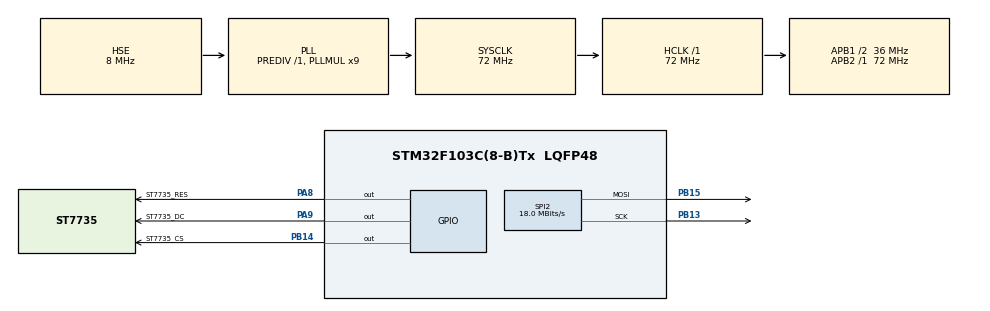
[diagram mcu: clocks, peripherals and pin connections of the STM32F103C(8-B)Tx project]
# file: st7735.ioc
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Mcu.Family=STM32F1
Mcu.Name=STM32F103C(8-B)Tx
Mcu.Package=LQFP48
NVIC.PriorityGroup=NVIC_PRIORITYGROUP_4
PA13.Mode=Serial_Wire
PA13.Signal=SYS_JTMS-SWDIO
PA14.Mode=Serial_Wire
PA14.Signal=SYS_JTCK-SWCLK
PA8.GPIO_Label=ST7735_RES
PA8.GPIO_Speed=GPIO_SPEED_FREQ_HIGH
PA8.Signal=GPIO_Output
PA9.GPIO_Label=ST7735_DC
PA9.GPIO_Speed=GPIO_SPEED_FREQ_HIGH
PA9.Signal=GPIO_Output
PB13.Mode=TX_Only_Simplex_Unidirect_Master
PB13.Signal=SPI2_SCK
PB14.GPIO_Label=ST7735_CS
PB14.GPIO_Speed=GPIO_SPEED_FREQ_HIGH
PB14.Signal=GPIO_Output
PB15.Mode=TX_Only_Simplex_Unidirect_Master
PB15.Signal=SPI2_MOSI
PC14-OSC32_IN.Mode=LSE-External-Oscillator
PC14-OSC32_IN.Signal=RCC_OSC32_IN
PC15-OSC32_OUT.Mode=LSE-External-Oscillator
PC15-OSC32_OUT.Signal=RCC_OSC32_OUT
PD0-OSC_IN.Mode=HSE-External-Oscillator
PD0-OSC_IN.Signal=RCC_OSC_IN
PD1-OSC_OUT.Mode=HSE-External-Oscillator
PD1-OSC_OUT.Signal=RCC_OSC_OUT
ProjectManager.HeapSize=0x200
ProjectManager.StackSize=0x400
ProjectManager.TargetToolchain=Makefile
RCC.AHBFreq_Value=72000000
RCC.APB1CLKDivider=RCC_HCLK_DIV2
RCC.APB1Freq_Value=36000000
RCC.APB1TimFreq_Value=72000000
RCC.APB2Freq_Value=72000000
RCC.APB2TimFreq_Value=72000000
RCC.HCLKFreq_Value=72000000
RCC.PLLMUL=RCC_PLL_MUL9
RCC.PLLSourceVirtual=RCC_PLLSOURCE_HSE
RCC.RTCClockSelection=RCC_RTCCLKSOURCE_LSE
RCC.SYSCLKFreq_VALUE=72000000
RCC.SYSCLKSource=RCC_SYSCLKSOURCE_PLLCLK
RCC.USBFreq_Value=72000000
SPI2.CalculateBaudRate=18.0 MBits/s
SPI2.Direction=SPI_DIRECTION_2LINES
SPI2.Mode=SPI_MODE_MASTER
SPI2.VirtualType=VM_MASTER
VP_RTC_No_RTC_Output.Mode=RTC_OUT_NO
VP_RTC_VS_RTC_Activate.Mode=RTC_Enabled
board=custom

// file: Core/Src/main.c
/* USER CODE BEGIN Header */
/**
  ******************************************************************************
  * @file           : main.c
  * @brief          : Main program body
  ******************************************************************************
  * @attention
  *
  * Copyright (c) 2021 STMicroelectronics.
  * All rights reserved.
  *
  * This software is licensed under terms that can be found in the LICENSE file
  * in the root directory of this software component.
  * If no LICENSE file comes with this software, it is provided AS-IS.
  *
  ******************************************************************************
  */
/* USER CODE END Header */
#include "main.h"

/* USER CODE BEGIN Includes */
#include <string.h>
#include <stdio.h>
#include "st7735.h"
#include "fonts.h"
#include "car.h"
#include "stm32f1xx_hal.h"
#include "splash.h"
/* USER CODE END Includes */

RTC_HandleTypeDef hrtc;

SPI_HandleTypeDef hspi2;

/* USER CODE BEGIN PV */
ucg_t ucg;
/* USER CODE END PV */

void SystemClock_Config(void);
static void MX_GPIO_Init(void);
static void MX_RTC_Init(void);
static void MX_SPI2_Init(void);

/* USER CODE BEGIN 0 */
void init() {
    ucg_Init();

    /* const char ready[] = "Ready!\r\n"; */
    /* HAL_UART_Transmit(&huart1, (uint8_t*)ready, sizeof(ready)-1, HAL_MAX_DELAY); */
}

/* void loop() { */
/*     // Check border */
/*     ucg_FillScreen(ST7735_BLACK); */
/*  */
/*     for(int x = 0; x < ST7735_WIDTH; x++) { */
/*         ucg_DrawPixel(x, 0, ST7735_RED); */
/*         ucg_DrawPixel(x, ST7735_HEIGHT-1, ST7735_RED); */
/*     } */
/*  */
/*     for(int y = 0; y < ST7735_HEIGHT; y++) { */
/*         ucg_DrawPixel(0, y, ST7735_RED); */
/*         ucg_DrawPixel(ST7735_WIDTH-1, y, ST7735_RED); */
/*     } */
/*  */
/*     HAL_Delay(3000); */
/*  */
/*     // Check fonts */
/*     ucg_FillScreen(ST7735_BLACK); */
/*     ucg_WriteString(0, 0, "Font_7x10", Font_7x10, ST7735_RED, ST7735_BLACK); */
/*     ucg_WriteString(0, 18, "Font_11x18", Font_11x18, ST7735_GREEN, ST7735_BLACK); */
/*     ucg_WriteString(0, 22+18, "Font_16x26", Font_16x26, ST7735_BLUE, ST7735_BLACK); */
/*     HAL_Delay(2000); */
/*  */
/*     // Check colors */
/*     ucg_FillScreen(ST7735_BLACK); */
/*     ucg_WriteString(0, 0, "BLACK", Font_11x18, ST7735_WHITE, ST7735_BLACK); */
/*     HAL_Delay(500); */
/*  */
/*     ucg_FillScreen(ST7735_BLUE); */
/*     ucg_WriteString(0, 0, "BLUE", Font_11x18, ST7735_BLACK, ST7735_BLUE); */
/*     HAL_Delay(500); */
/*  */
/*     ucg_FillScreen(ST7735_RED); */
/*     ucg_WriteString(0, 0, "RED", Font_11x18, ST7735_BLACK, ST7735_RED); */
/*     HAL_Delay(500); */
/*  */
/*     ucg_FillScreen(ST7735_GREEN); */
/*     ucg_WriteString(0, 0, "GREEN", Font_11x18, ST7735_BLACK, ST7735_GREEN); */
/*     HAL_Delay(500); */
/*  */
/*     ucg_FillScreen(ST7735_CYAN); */
/*     ucg_WriteString(0, 0, "CYAN", Font_11x18, ST7735_BLACK, ST7735_CYAN); */
/*     HAL_Delay(500); */
/*  */
/*     ucg_FillScreen(ST7735_MAGENTA); */
/*     ucg_WriteString(0, 0, "MAGENTA", Font_11x18, ST7735_BLACK, ST7735_MAGENTA); */
/*     HAL_Delay(500); */
/*  */
/*     ucg_FillScreen(ST7735_YELLOW); */
/*     ucg_WriteString(0, 0, "YELLOW", Font_11x18, ST7735_BLACK, ST7735_YELLOW); */
/*     HAL_Delay(500); */
/*  */
/*     ucg_FillScreen(ST7735_WHITE); */
/*     ucg_WriteString(0, 0, "WHITE", Font_11x18, ST7735_BLACK, ST7735_WHITE); */
/*     HAL_Delay(500); */
/*  */
/* 	ucg_DrawImage(0, 0, ST7735_WIDTH, ST7735_HEIGHT, (uint16_t*)test_img_160x80); */
/* 	HAL_Delay(15000); */
/* } */
/* USER CODE END 0 */

int main(void)
{

	/* MCU Configuration--------------------------------------------------------*/

	/* Reset of all peripherals, Initializes the Flash interface and the Systick. */
	HAL_Init();

	/* Configure the system clock */
	SystemClock_Config();

	/* Initialize all configured peripherals */
	MX_GPIO_Init();
	MX_RTC_Init();
	MX_SPI2_Init();
	/* USER CODE BEGIN 2 */
	init();
	ucg_SetBackColor(&ucg, C_BLACK);
	ucg_FillScreen(&ucg);
	/* ucg_FillRectangle(1, 1, 10, 10, ST7735_YELLOW); */
	ucg_SetForeColor(&ucg, C_CYAN);
	/* ucg_SetColor(&ucg, 1, ST7735_BLACK); */
	/* ucg_DrawRectangle(&ucg, 10, 10, 160, 160); */
	ucg_SetForeColor(&ucg, C_RED);
	ucg_SetFont(&ucg, (tFont*)&font_18b);
	/* ucg_DrawRoundFrame(&ucg, 20, 20, 100, 40, 10); */
	/* ucg_FillRoundFrame(&ucg, 20, 20, 100, 40, 10); */
	/* ucg_SetColor(&ucg, 0, ST7735_BLACK); */
	/* ucg_SetColor(&ucg, 1, ST7735_GREEN); */
	/* ucg_WriteString(&ucg, 25, 27, "Hello"); */
	/* ucg_SetColor(&ucg, 0, ST7735_GREEN); */
	/* ucg_SetColor(&ucg, 1, ST7735_BLACK); */
	/* ucg_FillCircle(&ucg, 120, 40, 20); */
	/* uint8_t wh; */
	/* char buff[10]; */
	/* USER CODE END 2 */

	/* Infinite loop */
	/* USER CODE BEGIN WHILE */
	while (1)
	{
		ucg_WriteString(&ucg, 1, 1, "Hello, World!");
		ucg_DrawBmp(0, 20, &cel, C_GREEN, C_BLACK);
		/* ucg_SetFont(&ucg, (tFont*)&font_53); */
		/* ucg_SetForeColor(&ucg, C_BLACK); */
		/* ucg_SetBackColor(&ucg, C_WHITE); */
		/* ucg_WriteString(&ucg, 1, 24, "1234"); */
		/* wh = ucg_GetStrWidth(&ucg,&Font_16x26, "Hello"); */
		/* sprintf(buff, "%d", wh); */
		/* ucg_WriteString(&ucg, 20, 50, buff); */
		/* loop(); */
		/* ucg_SetForeColor(&ucg, C_RED); */
		/* ucg_WriteString(&ucg, 12, 12, "Hello"); */
		/* HAL_Delay(500); */
		/* ucg_SetForeColor(&ucg, C_BLACK); */
		/* ucg_FillRectangle(&ucg, 12, 12, 84, 26); */
		/* ucg_SetForeColor(&ucg, C_YELLOW); */
		/* ucg_WriteString(&ucg, 12, 40, "Hello"); */
		/* HAL_Delay(500); */
		/* ucg_SetForeColor(&ucg, C_BLACK); */
		/* ucg_FillRectangle(&ucg, 12, 40, 84, 26); */

		/* USER CODE END WHILE */

	}
}

void SystemClock_Config(void)
{
  RCC_OscInitTypeDef RCC_OscInitStruct = {0};
  RCC_ClkInitTypeDef RCC_ClkInitStruct = {0};
  RCC_PeriphCLKInitTypeDef PeriphClkInit = {0};

  /** Initializes the RCC Oscillators according to the specified parameters
  * in the RCC_OscInitTypeDef structure.
  */
  RCC_OscInitStruct.OscillatorType = RCC_OSCILLATORTYPE_HSE|RCC_OSCILLATORTYPE_LSE;
  RCC_OscInitStruct.HSEState = RCC_HSE_ON;
  RCC_OscInitStruct.HSEPredivValue = RCC_HSE_PREDIV_DIV1;
  RCC_OscInitStruct.LSEState = RCC_LSE_ON;
  RCC_OscInitStruct.HSIState = RCC_HSI_ON;
  RCC_OscInitStruct.PLL.PLLState = RCC_PLL_ON;
  RCC_OscInitStruct.PLL.PLLSource = RCC_PLLSOURCE_HSE;
  RCC_OscInitStruct.PLL.PLLMUL = RCC_PLL_MUL9;
  if (HAL_RCC_OscConfig(&RCC_OscInitStruct) != HAL_OK)
  {
    Error_Handler();
  }
  /** Initializes the CPU, AHB and APB buses clocks
  */
  RCC_ClkInitStruct.ClockType = RCC_CLOCKTYPE_HCLK|RCC_CLOCKTYPE_SYSCLK
                              |RCC_CLOCKTYPE_PCLK1|RCC_CLOCKTYPE_PCLK2;
  RCC_ClkInitStruct.SYSCLKSource = RCC_SYSCLKSOURCE_PLLCLK;
  RCC_ClkInitStruct.AHBCLKDivider = RCC_SYSCLK_DIV1;
  RCC_ClkInitStruct.APB1CLKDivider = RCC_HCLK_DIV2;
  RCC_ClkInitStruct.APB2CLKDivider = RCC_HCLK_DIV1;

  if (HAL_RCC_ClockConfig(&RCC_ClkInitStruct, FLASH_LATENCY_2) != HAL_OK)
  {
    Error_Handler();
  }
  PeriphClkInit.PeriphClockSelection = RCC_PERIPHCLK_RTC;
  PeriphClkInit.RTCClockSelection = RCC_RTCCLKSOURCE_LSE;
  if (HAL_RCCEx_PeriphCLKConfig(&PeriphClkInit) != HAL_OK)
  {
    Error_Handler();
  }
}

static void MX_RTC_Init(void)
{

  RTC_TimeTypeDef sTime = {0};
  RTC_DateTypeDef DateToUpdate = {0};

  /** Initialize RTC Only
  */
  hrtc.Instance = RTC;
  hrtc.Init.AsynchPrediv = RTC_AUTO_1_SECOND;
  hrtc.Init.OutPut = RTC_OUTPUTSOURCE_NONE;
  if (HAL_RTC_Init(&hrtc) != HAL_OK)
  {
    Error_Handler();
  }

  /** Initialize RTC and set the Time and Date
  */
  sTime.Hours = 0x0;
  sTime.Minutes = 0x0;
  sTime.Seconds = 0x0;

  if (HAL_RTC_SetTime(&hrtc, &sTime, RTC_FORMAT_BCD) != HAL_OK)
  {
    Error_Handler();
  }
  DateToUpdate.WeekDay = RTC_WEEKDAY_MONDAY;
  DateToUpdate.Month = RTC_MONTH_JANUARY;
  DateToUpdate.Date = 0x1;
  DateToUpdate.Year = 0x0;

  if (HAL_RTC_SetDate(&hrtc, &DateToUpdate, RTC_FORMAT_BCD) != HAL_OK)
  {
    Error_Handler();
  }

}

static void MX_SPI2_Init(void)
{

  /* SPI2 parameter configuration*/
  hspi2.Instance = SPI2;
  hspi2.Init.Mode = SPI_MODE_MASTER;
  hspi2.Init.Direction = SPI_DIRECTION_2LINES;
  hspi2.Init.DataSize = SPI_DATASIZE_8BIT;
  hspi2.Init.CLKPolarity = SPI_POLARITY_LOW;
  hspi2.Init.CLKPhase = SPI_PHASE_1EDGE;
  hspi2.Init.NSS = SPI_NSS_SOFT;
  hspi2.Init.BaudRatePrescaler = SPI_BAUDRATEPRESCALER_2;
  hspi2.Init.FirstBit = SPI_FIRSTBIT_MSB;
  hspi2.Init.TIMode = SPI_TIMODE_DISABLE;
  hspi2.Init.CRCCalculation = SPI_CRCCALCULATION_DISABLE;
  hspi2.Init.CRCPolynomial = 10;
  if (HAL_SPI_Init(&hspi2) != HAL_OK)
  {
    Error_Handler();
  }

}

static void MX_GPIO_Init(void)
{
  GPIO_InitTypeDef GPIO_InitStruct = {0};

  /* GPIO Ports Clock Enable */
  __HAL_RCC_GPIOC_CLK_ENABLE();
  __HAL_RCC_GPIOD_CLK_ENABLE();
  __HAL_RCC_GPIOB_CLK_ENABLE();
  __HAL_RCC_GPIOA_CLK_ENABLE();

  /*Configure GPIO pin Output Level */
  HAL_GPIO_WritePin(ST7735_CS_GPIO_Port, ST7735_CS_Pin, GPIO_PIN_RESET);

  /*Configure GPIO pin Output Level */
  HAL_GPIO_WritePin(GPIOA, ST7735_RES_Pin|ST7735_DC_Pin, GPIO_PIN_RESET);

  /*Configure GPIO pin : ST7735_CS_Pin */
  GPIO_InitStruct.Pin = ST7735_CS_Pin;
  GPIO_InitStruct.Mode = GPIO_MODE_OUTPUT_PP;
  GPIO_InitStruct.Pull = GPIO_NOPULL;
  GPIO_InitStruct.Speed = GPIO_SPEED_FREQ_HIGH;
  HAL_GPIO_Init(ST7735_CS_GPIO_Port, &GPIO_InitStruct);

  /*Configure GPIO pins : ST7735_RES_Pin ST7735_DC_Pin */
  GPIO_InitStruct.Pin = ST7735_RES_Pin|ST7735_DC_Pin;
  GPIO_InitStruct.Mode = GPIO_MODE_OUTPUT_PP;
  GPIO_InitStruct.Pull = GPIO_NOPULL;
  GPIO_InitStruct.Speed = GPIO_SPEED_FREQ_HIGH;
  HAL_GPIO_Init(GPIOA, &GPIO_InitStruct);

}

void Error_Handler(void)
{
  __disable_irq();
  while (1)
  {
  }
}

#ifdef  USE_FULL_ASSERT
/**
  * @brief  Reports the name of the source file and the source line number
  *         where the assert_param error has occurred.
  * @param  file: pointer to the source file name
  * @param  line: assert_param error line source number
  * @retval None
  */
void assert_failed(uint8_t *file, uint32_t line)
{
  /* USER CODE BEGIN 6 */
  /* User can add his own implementation to report the file name and line number,
     printf("Wrong parameters value: file %s on line %d\r\n", file, line) */
  /* USER CODE END 6 */
}
#endif /* USE_FULL_ASSERT */
